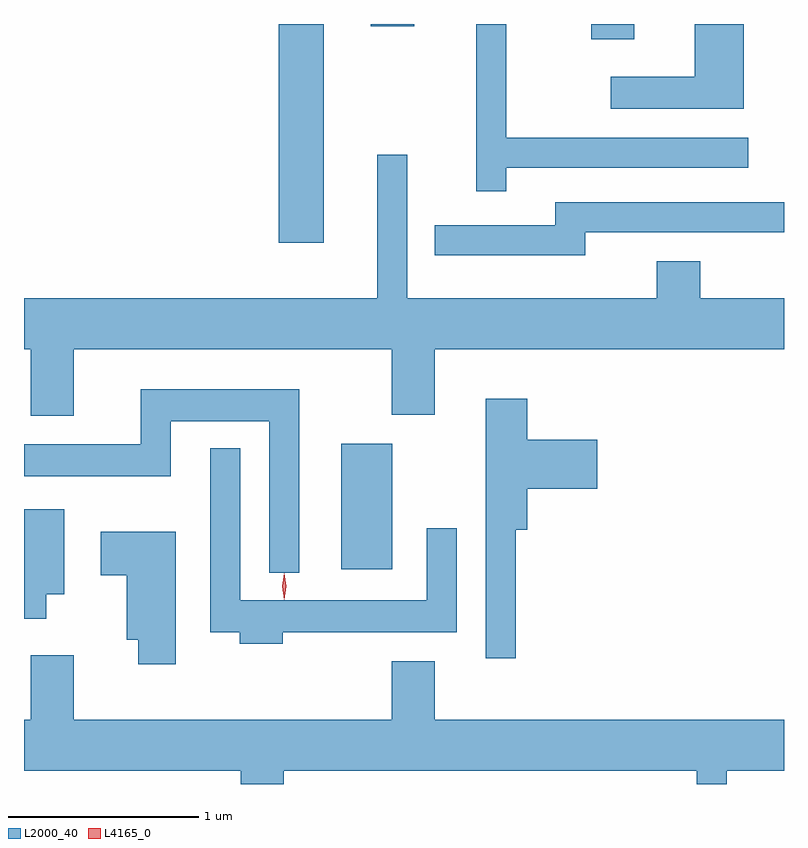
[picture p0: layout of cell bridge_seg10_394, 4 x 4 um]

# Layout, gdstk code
import gdstk
lib = gdstk.Library(unit=1e-6, precision=1e-09)
def R(c, l, rs):  # rectangles x0, y0, x1, y1
    for r in rs: c.add(gdstk.rectangle(r[:2], r[2:], *l))
def P(c, l, *ps):  # polygons
    for p in ps: c.add(gdstk.Polygon(p, *l))
L2000_40 = (2000, 40)
L4165_0 = (4165, 0)

bridge_seg10_394 = lib.new_cell('bridge_seg10_394')
R(bridge_seg10_394, L2000_40, [(1396.666,2108.316,1396.934,2108.979), (1396.336,2110.036,1396.574,2111.187), (1397.981,2111.106,1398.209,2111.187), (1396.821,2111.176,1397.049,2111.187)])
P(bridge_seg10_394, L2000_40, [(1397.534,2110.431),(1398.808,2110.431),(1398.808,2110.589),(1397.534,2110.589),(1397.534,2111.187),(1397.376,2111.187),(1397.376,2110.308),(1397.534,2110.308)],
  [(1398.784,2111.187),(1398.526,2111.187),(1398.526,2110.909),(1398.083,2110.909),(1398.083,2110.741),(1398.784,2110.741)],
  [(1395.259,2109.476),(1396.931,2109.476),(1396.931,2109.131),(1397.159,2109.131),(1397.159,2109.476),(1398.996,2109.476),(1398.996,2109.744),(1398.554,2109.744),(1398.554,2109.939),(1398.326,2109.939),(1398.326,2109.744),(1397.014,2109.744),(1397.014,2110.498),(1396.856,2110.498),(1396.856,2109.744),(1394.996,2109.744),(1394.996,2109.476),(1395.031,2109.476),(1395.031,2109.126),(1395.259,2109.126)],
  [(1397.949,2110.091),(1398.996,2110.091),(1398.996,2110.249),(1397.791,2110.249),(1397.791,2110.129),(1397.158,2110.129),(1397.158,2109.971),(1397.949,2109.971)],
  [(1396.444,2109.264),(1395.611,2109.264),(1395.611,2108.974),(1394.996,2108.974),(1394.996,2108.806),(1395.769,2108.806),(1395.769,2109.096),(1396.286,2109.096),(1396.286,2108.298),(1396.444,2108.298)],
  [(1397.584,2108.526),(1397.644,2108.526),(1397.644,2108.741),(1398.014,2108.741),(1398.014,2108.999),(1397.644,2108.999),(1397.644,2109.214),(1397.426,2109.214),(1397.426,2107.848),(1397.584,2107.848)],
  [(1396.359,2107.986),(1397.274,2107.986),(1397.274,2108.533),(1397.116,2108.533),(1397.116,2108.154),(1396.134,2108.154),(1396.134,2108.953),(1395.976,2108.953),(1395.976,2107.986),(1396.131,2107.986),(1396.131,2107.926),(1396.359,2107.926)],
  [(1395.114,2108.186),(1395.209,2108.186),(1395.209,2108.634),(1394.996,2108.634),(1394.996,2108.056),(1395.114,2108.056)],
  [(1395.794,2108.514),(1395.401,2108.514),(1395.401,2108.286),(1395.536,2108.286),(1395.536,2107.946),(1395.596,2107.946),(1395.596,2107.816),(1395.794,2107.816)],
  [(1396.931,2107.834),(1396.931,2107.524),(1395.259,2107.524),(1395.259,2107.864),(1395.031,2107.864),(1395.031,2107.524),(1394.996,2107.524),(1394.996,2107.256),(1396.136,2107.256),(1396.136,2107.187),(1396.364,2107.187),(1396.364,2107.256),(1398.536,2107.256),(1398.536,2107.187),(1398.694,2107.187),(1398.694,2107.256),(1398.996,2107.256),(1398.996,2107.524),(1397.159,2107.524),(1397.159,2107.834)])
P(bridge_seg10_394, L4165_0, [(1396.366,2108.157),(1396.365,2108.158),(1396.356,2108.227),(1396.365,2108.296),(1396.366,2108.296),(1396.366,2108.296),(1396.376,2108.227),(1396.366,2108.158)])

lib.write_gds('bridge_seg10_394.gds')
